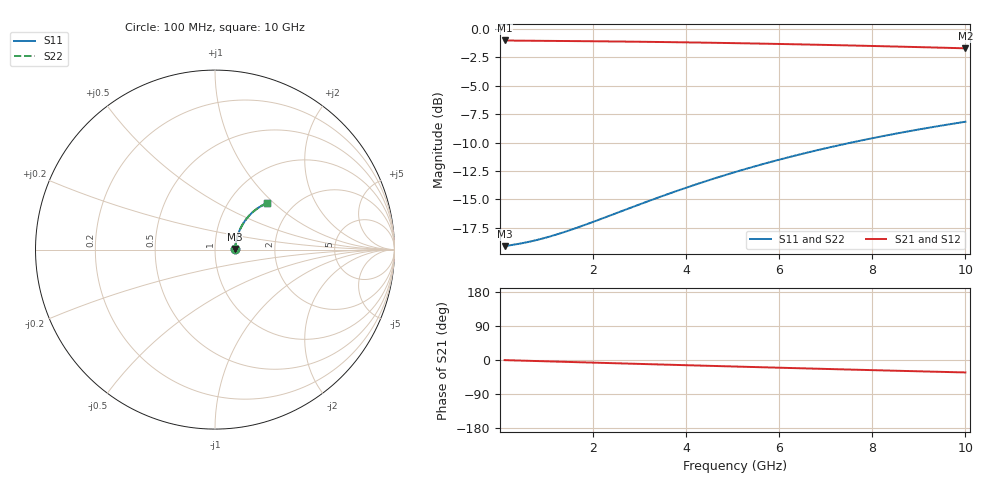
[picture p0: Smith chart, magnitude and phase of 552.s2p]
# Hz S RI R 50.00
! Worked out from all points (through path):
!   100 points, 100 MHz to 10 GHz, reference 50 ohm
!   highest |S21| = -1.02 dB at 100 MHz (marker M1); lowest = -1.7 dB at 10 GHz (marker M2)
!   group delay of S21, straight-line fit = 9.16 ps
!   lowest |S11| = -19.1 dB at 100 MHz (marker M3), VSWR 1.25, Z = 62.4 + j0.448 ohm
!   |S11| at or under -10 dB: start of sweep to 7.55 GHz
!   |S22| runs from -19.1 to -8.2 dB; largest |S21 - S12| = 0
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1e8  0.1107 0.00355  0.8893 -0.00539  0.8893 -0.00539  0.1107 0.00355
5e8  0.113 0.0176  0.8869 -0.0269  0.8869 -0.0269  0.113 0.0176
7e8  0.1141 0.0246  0.8858 -0.0375  0.8858 -0.0375  0.1141 0.0246
9e8  0.1152 0.0316  0.8846 -0.0482  0.8846 -0.0482  0.1152 0.0316
1.1e9  0.1164 0.0385  0.8833 -0.0588  0.8833 -0.0588  0.1164 0.0385
1.3e9  0.1178 0.0454  0.8819 -0.0694  0.8819 -0.0694  0.1178 0.0454
1.8e9  0.1217 0.0625  0.8777 -0.0957  0.8777 -0.0957  0.1217 0.0625
2.6e9  0.1299 0.089  0.8688 -0.1371  0.8688 -0.1371  0.1299 0.089
3.4e9  0.1404 0.1146  0.8575 -0.1774  0.8575 -0.1774  0.1404 0.1146
3.9e9  0.1481 0.1299  0.8491 -0.2019  0.8491 -0.2019  0.1481 0.1299
4.3e9  0.1548 0.1417  0.8418 -0.2212  0.8418 -0.2212  0.1548 0.1417
4.7e9  0.162 0.1531  0.8339 -0.24  0.8339 -0.24  0.162 0.1531
5.1e9  0.1697 0.1642  0.8255 -0.2585  0.8255 -0.2585  0.1697 0.1642
5.5e9  0.1779 0.1747  0.8166 -0.2765  0.8166 -0.2765  0.1779 0.1747
5.9e9  0.1865 0.1849  0.8072 -0.2941  0.8072 -0.2941  0.1865 0.1849
6.3e9  0.1955 0.1945  0.7973 -0.3112  0.7973 -0.3112  0.1955 0.1945
6.7e9  0.2048 0.2037  0.787 -0.3278  0.787 -0.3278  0.2048 0.2037
7.5e9  0.2244 0.2205  0.7653 -0.3596  0.7653 -0.3596  0.2244 0.2205
7.9e9  0.2347 0.2281  0.7539 -0.3747  0.7539 -0.3747  0.2347 0.2281
8.4e9  0.2478 0.2369  0.7392 -0.3929  0.7392 -0.3929  0.2478 0.2369
9.2e9  0.2695 0.2493  0.715 -0.4203  0.715 -0.4203  0.2695 0.2493
1e10  0.2917 0.2596  0.6898 -0.4457  0.6898 -0.4457  0.2917 0.2596
